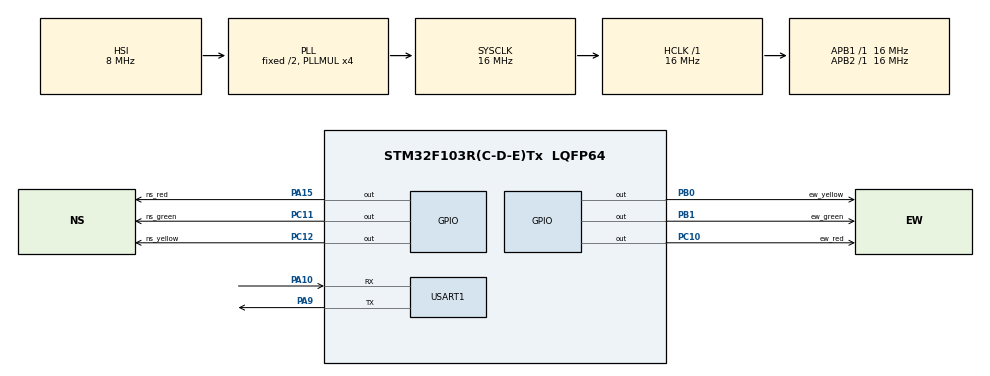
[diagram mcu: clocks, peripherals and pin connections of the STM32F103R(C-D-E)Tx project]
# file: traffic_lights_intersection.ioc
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Mcu.Family=STM32F1
Mcu.Name=STM32F103R(C-D-E)Tx
Mcu.Package=LQFP64
NVIC.PriorityGroup=NVIC_PRIORITYGROUP_4
NVIC.TIM2_IRQn=true\:0\:0\:false\:false\:true\:true\:true\:true
PA10.Mode=Asynchronous
PA10.Signal=USART1_RX
PA13.Mode=Serial_Wire
PA13.Signal=SYS_JTMS-SWDIO
PA14.Mode=Serial_Wire
PA14.Signal=SYS_JTCK-SWCLK
PA15.GPIO_Label=ns_red
PA15.Signal=GPIO_Output
PA9.Mode=Asynchronous
PA9.Signal=USART1_TX
PB0.GPIO_Label=ew_yellow
PB0.Signal=GPIO_Output
PB1.GPIO_Label=ew_green
PB1.Signal=GPIO_Output
PC10.GPIO_Label=ew_red
PC10.Signal=GPIO_Output
PC11.GPIO_Label=ns_green
PC11.Signal=GPIO_Output
PC12.GPIO_Label=ns_yellow
PC12.Signal=GPIO_Output
PC14-OSC32_IN.Mode=LSE-External-Oscillator
PC14-OSC32_IN.Signal=RCC_OSC32_IN
PC15-OSC32_OUT.Mode=LSE-External-Oscillator
PC15-OSC32_OUT.Signal=RCC_OSC32_OUT
PD0-OSC_IN.Mode=HSE-External-Oscillator
PD0-OSC_IN.Signal=RCC_OSC_IN
PD1-OSC_OUT.Mode=HSE-External-Oscillator
PD1-OSC_OUT.Signal=RCC_OSC_OUT
ProjectManager.HeapSize=0x200
ProjectManager.StackSize=0x400
ProjectManager.TargetToolchain=STM32CubeIDE
RCC.AHBFreq_Value=16000000
RCC.APB1Freq_Value=16000000
RCC.APB1TimFreq_Value=16000000
RCC.APB2Freq_Value=16000000
RCC.APB2TimFreq_Value=16000000
RCC.HCLKFreq_Value=16000000
RCC.PLLMUL=RCC_PLL_MUL4
RCC.SYSCLKFreq_VALUE=16000000
RCC.SYSCLKSource=RCC_SYSCLKSOURCE_PLLCLK
RCC.USBFreq_Value=16000000
TIM2.AutoReloadPreload=TIM_AUTORELOAD_PRELOAD_ENABLE
TIM2.Period=10000 - 1 
TIM2.Prescaler=1600 - 1
USART1.VirtualMode=VM_ASYNC
VP_TIM2_VS_ClockSourceINT.Mode=Internal
board=custom

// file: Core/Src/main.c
/* USER CODE BEGIN Header */
/**
  ******************************************************************************
  * @file           : main.c
  * @brief          : Main program body
  ******************************************************************************
  * @attention
  *
  * Copyright (c) 2026 STMicroelectronics.
  * All rights reserved.
  *
  * This software is licensed under terms that can be found in the LICENSE file
  * in the root directory of this software component.
  * If no LICENSE file comes with this software, it is provided AS-IS.
  *
  ******************************************************************************
  */
/* USER CODE END Header */
#include "main.h"

/* USER CODE BEGIN Includes */
#include <stdio.h>

/* USER CODE END Includes */

TIM_HandleTypeDef htim2;

UART_HandleTypeDef huart1;

void SystemClock_Config(void);
static void MX_GPIO_Init(void);
static void MX_TIM2_Init(void);
static void MX_USART1_UART_Init(void);

/* USER CODE BEGIN 0 */
#define NS_GREEN_PIN 0
#define NS_YELLOW_PIN 1
#define NS_RED_PIN 	2
#define EW_GREEN_PIN	3
#define EW_YELLOW_PIN 4
#define EW_RED_PIN 5

/*
 * state enumeration
 */
typedef enum {
	NS_GREEN, NS_YELLOW, NS_RED,
	EW_GREEN, EW_YELLOW, EW_RED
} TrafficState;

// state durations in seconds
const uint8_t state_durations[] = {30, 5, 35, 30, 5, 35};

// global variables
volatile uint32_t timer_count = 0;
TrafficState current_state = NS_GREEN; /* starting state */

/* timer init 1 second */
void timer_init() {

}

/* set LEDs based on the state */
void set_leds(TrafficState state) {
	/* reset all GPIOs to 0 */
	HAL_GPIO_WritePin(ns_green_GPIO_Port, ns_green_Pin, 0);
	HAL_GPIO_WritePin(ns_yellow_GPIO_Port, ns_green_Pin, 0);
	HAL_GPIO_WritePin(ns_red_GPIO_Port, ns_green_Pin, 0);
	HAL_GPIO_WritePin(ew_green_GPIO_Port, ns_green_Pin, 0);
	HAL_GPIO_WritePin(ew_yellow_GPIO_Port, ns_green_Pin, 0);
	HAL_GPIO_WritePin(ew_red_GPIO_Port, ns_green_Pin, 0);

	/* switch LEDs based on state */
	switch (state) {
		case NS_GREEN:
			HAL_GPIO_WritePin(ns_green_GPIO_Port, ns_green_Pin, 1);
			HAL_GPIO_WritePin(ew_red_GPIO_Port, ew_red_Pin, 1);
			break;

		case NS_YELLOW:
			HAL_GPIO_WritePin(ns_yellow_GPIO_Port, ns_yellow_Pin, 1);
			HAL_GPIO_WritePin(ew_red_GPIO_Port, ew_red_Pin, 1);
			break;

		case NS_RED:
			HAL_GPIO_WritePin(ns_red_GPIO_Port, ns_red_Pin, 1);
			HAL_GPIO_WritePin(ew_green_GPIO_Port, ew_green_Pin, 1);
			break;

		case EW_RED:
			HAL_GPIO_WritePin(ew_red_GPIO_Port, ew_red_Pin, 1);
			HAL_GPIO_WritePin(ns_green_GPIO_Port, ns_green_Pin, 1);
			break;

		case EW_YELLOW:
			HAL_GPIO_WritePin(ew_yellow_GPIO_Port, ew_yellow_Pin, 1);
			HAL_GPIO_WritePin(ns_red_GPIO_Port, ns_red_Pin, 1);
			break;

		case EW_GREEN:
			HAL_GPIO_WritePin(ew_green_GPIO_Port, ew_green_Pin, 1);
			HAL_GPIO_WritePin(ns_red_GPIO_Port, ns_red_Pin, 1);
			break;
	}

}

/* get next state */
TrafficState get_next_state(TrafficState state) {
	switch (state) {
		case NS_GREEN: return NS_YELLOW;
		case NS_YELLOW: return NS_RED;
		case EW_GREEN: return EW_YELLOW;
		case EW_YELLOW: return EW_RED;
	}

	/* fallback */
	return NS_GREEN;
}

/* timer interrupt handler */
void timer_isr(void) {
	timer_count++;
}

/* finite starte machine logic */
void traffic_light_fsm(void) {
	if (timer_count >= state_durations[current_state]) {
		set_leds(current_state);
		current_state = get_next_state(current_state);
		timer_count = 0;
	}

}

/* USER CODE END 0 */

int main(void)
{

  /* MCU Configuration--------------------------------------------------------*/

  /* Reset of all peripherals, Initializes the Flash interface and the Systick. */
  HAL_Init();

  /* Configure the system clock */
  SystemClock_Config();

  /* Initialize all configured peripherals */
  MX_GPIO_Init();
  MX_TIM2_Init();
  MX_USART1_UART_Init();
  /* USER CODE BEGIN 2 */
  char uart_buf[50];
  int uart_buf_len;
  uint16_t timer_val;

  uart_buf_len = sprintf(uart_buf, "Finite state machine\r\n");
  HAL_UART_Transmit(&huart1, (uint8_t*)uart_buf, uart_buf_len, 100);

  /* START TIMER */
  //HAL_TIM_Base_Start(&htim2);
  HAL_TIM_Base_Start_IT(&htim2); // start in interrupt mode

  timer_init();
  set_leds(current_state);

  /* USER CODE END 2 */

  /* Infinite loop */
  /* USER CODE BEGIN WHILE */
  while (1)
  {

	  /* get the current time */
//	  timer_val = __HAL_TIM_GET_COUNTER(&htim2);

	  /* wait for 50 ms */
//	  HAL_GPIO_WritePin(ns_red_GPIO_Port, ns_red_Pin, GPIO_PIN_SET);
//	  HAL_Delay(50);
//	  HAL_GPIO_WritePin(ns_red_GPIO_Port, ns_red_Pin, GPIO_PIN_RESET);

	  /* get time elapsed */
//	  timer_val = __HAL_TIM_GET_COUNTER(&htim2) - timer_val;

//	  uart_buf_len = sprintf(uart_buf, "%u us\r\n", timer_val);
//	  HAL_UART_Transmit(&huart1, (uint8_t*)uart_buf, uart_buf_len , 100);

	  // wait
//	  HAL_Delay(1000);

	 //traffic_light_fsm();
    /* USER CODE END WHILE */

  }
}

void SystemClock_Config(void)
{
  RCC_OscInitTypeDef RCC_OscInitStruct = {0};
  RCC_ClkInitTypeDef RCC_ClkInitStruct = {0};

  /** Initializes the RCC Oscillators according to the specified parameters
  * in the RCC_OscInitTypeDef structure.
  */
  RCC_OscInitStruct.OscillatorType = RCC_OSCILLATORTYPE_HSI;
  RCC_OscInitStruct.HSIState = RCC_HSI_ON;
  RCC_OscInitStruct.HSICalibrationValue = RCC_HSICALIBRATION_DEFAULT;
  RCC_OscInitStruct.PLL.PLLState = RCC_PLL_ON;
  RCC_OscInitStruct.PLL.PLLSource = RCC_PLLSOURCE_HSI_DIV2;
  RCC_OscInitStruct.PLL.PLLMUL = RCC_PLL_MUL4;
  if (HAL_RCC_OscConfig(&RCC_OscInitStruct) != HAL_OK)
  {
    Error_Handler();
  }

  /** Initializes the CPU, AHB and APB buses clocks
  */
  RCC_ClkInitStruct.ClockType = RCC_CLOCKTYPE_HCLK|RCC_CLOCKTYPE_SYSCLK
                              |RCC_CLOCKTYPE_PCLK1|RCC_CLOCKTYPE_PCLK2;
  RCC_ClkInitStruct.SYSCLKSource = RCC_SYSCLKSOURCE_PLLCLK;
  RCC_ClkInitStruct.AHBCLKDivider = RCC_SYSCLK_DIV1;
  RCC_ClkInitStruct.APB1CLKDivider = RCC_HCLK_DIV1;
  RCC_ClkInitStruct.APB2CLKDivider = RCC_HCLK_DIV1;

  if (HAL_RCC_ClockConfig(&RCC_ClkInitStruct, FLASH_LATENCY_0) != HAL_OK)
  {
    Error_Handler();
  }
}

static void MX_TIM2_Init(void)
{

  TIM_ClockConfigTypeDef sClockSourceConfig = {0};
  TIM_MasterConfigTypeDef sMasterConfig = {0};

  htim2.Instance = TIM2;
  htim2.Init.Prescaler = 1600 - 1;
  htim2.Init.CounterMode = TIM_COUNTERMODE_UP;
  htim2.Init.Period = 10000 - 1 ;
  htim2.Init.ClockDivision = TIM_CLOCKDIVISION_DIV1;
  htim2.Init.AutoReloadPreload = TIM_AUTORELOAD_PRELOAD_ENABLE;
  if (HAL_TIM_Base_Init(&htim2) != HAL_OK)
  {
    Error_Handler();
  }
  sClockSourceConfig.ClockSource = TIM_CLOCKSOURCE_INTERNAL;
  if (HAL_TIM_ConfigClockSource(&htim2, &sClockSourceConfig) != HAL_OK)
  {
    Error_Handler();
  }
  sMasterConfig.MasterOutputTrigger = TIM_TRGO_RESET;
  sMasterConfig.MasterSlaveMode = TIM_MASTERSLAVEMODE_DISABLE;
  if (HAL_TIMEx_MasterConfigSynchronization(&htim2, &sMasterConfig) != HAL_OK)
  {
    Error_Handler();
  }

}

static void MX_USART1_UART_Init(void)
{

  huart1.Instance = USART1;
  huart1.Init.BaudRate = 115200;
  huart1.Init.WordLength = UART_WORDLENGTH_8B;
  huart1.Init.StopBits = UART_STOPBITS_1;
  huart1.Init.Parity = UART_PARITY_NONE;
  huart1.Init.Mode = UART_MODE_TX_RX;
  huart1.Init.HwFlowCtl = UART_HWCONTROL_NONE;
  huart1.Init.OverSampling = UART_OVERSAMPLING_16;
  if (HAL_UART_Init(&huart1) != HAL_OK)
  {
    Error_Handler();
  }

}

static void MX_GPIO_Init(void)
{
  GPIO_InitTypeDef GPIO_InitStruct = {0};

  /* GPIO Ports Clock Enable */
  __HAL_RCC_GPIOC_CLK_ENABLE();
  __HAL_RCC_GPIOD_CLK_ENABLE();
  __HAL_RCC_GPIOB_CLK_ENABLE();
  __HAL_RCC_GPIOA_CLK_ENABLE();

  /*Configure GPIO pin Output Level */
  HAL_GPIO_WritePin(GPIOB, ew_yellow_Pin|ew_green_Pin, GPIO_PIN_RESET);

  /*Configure GPIO pin Output Level */
  HAL_GPIO_WritePin(ns_red_GPIO_Port, ns_red_Pin, GPIO_PIN_RESET);

  /*Configure GPIO pin Output Level */
  HAL_GPIO_WritePin(GPIOC, ew_red_Pin|ns_green_Pin|ns_yellow_Pin, GPIO_PIN_RESET);

  /*Configure GPIO pins : ew_yellow_Pin ew_green_Pin */
  GPIO_InitStruct.Pin = ew_yellow_Pin|ew_green_Pin;
  GPIO_InitStruct.Mode = GPIO_MODE_OUTPUT_PP;
  GPIO_InitStruct.Pull = GPIO_NOPULL;
  GPIO_InitStruct.Speed = GPIO_SPEED_FREQ_LOW;
  HAL_GPIO_Init(GPIOB, &GPIO_InitStruct);

  /*Configure GPIO pin : ns_red_Pin */
  GPIO_InitStruct.Pin = ns_red_Pin;
  GPIO_InitStruct.Mode = GPIO_MODE_OUTPUT_PP;
  GPIO_InitStruct.Pull = GPIO_NOPULL;
  GPIO_InitStruct.Speed = GPIO_SPEED_FREQ_LOW;
  HAL_GPIO_Init(ns_red_GPIO_Port, &GPIO_InitStruct);

  /*Configure GPIO pins : ew_red_Pin ns_green_Pin ns_yellow_Pin */
  GPIO_InitStruct.Pin = ew_red_Pin|ns_green_Pin|ns_yellow_Pin;
  GPIO_InitStruct.Mode = GPIO_MODE_OUTPUT_PP;
  GPIO_InitStruct.Pull = GPIO_NOPULL;
  GPIO_InitStruct.Speed = GPIO_SPEED_FREQ_LOW;
  HAL_GPIO_Init(GPIOC, &GPIO_InitStruct);

}

/* USER CODE BEGIN 4 */

/* timer 2 elapsed callback */
void HAL_TIM_PeriodElapsedCallback(TIM_HandleTypeDef *htim)
{
	/* check which timer has elapsed */
	if(htim == &htim2) {
		HAL_GPIO_TogglePin(ew_green_GPIO_Port, ew_green_Pin);
	}
}

/* USER CODE END 4 */

void Error_Handler(void)
{
  __disable_irq();
  while (1)
  {
  }
}
